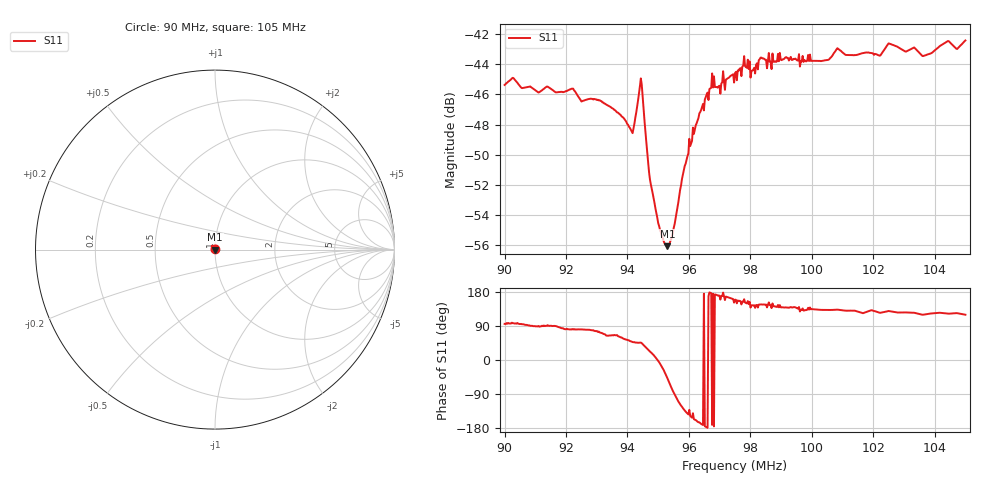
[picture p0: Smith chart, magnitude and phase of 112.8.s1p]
# HZ S RI R 50
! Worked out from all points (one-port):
!   505 points, 90 MHz to 105 MHz, reference 50 ohm
!   lowest |S11| = -56.1 dB at 95.3 MHz (marker M1), VSWR 1.00, Z = 50.1 - j0.117 ohm
!   |S11| at or under -10 dB: start of sweep to end of sweep
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9e7  -0.000495 0.00536
9.026786e7  -0.000694 0.00564
9.187501e7  0.000566 0.00507
9.220239e7  0.000754 0.00517
9.375001e7  0.00208 0.00377
9.416668e7  0.00252 0.00274
9.443454e7  0.00394 0.00406
9.449406e7  0.00366 0.00327
9.467263e7  0.00265 0.00137
9.476192e7  0.00236 0.000866
9.505954e7  0.00176 -0.000311
9.529764e7  0.00106 -0.00117
9.544645e7  0.000403 -0.00165
9.562502e7  -0.000536 -0.00205
9.607145e7  -0.00299 -0.00173
9.675597e7  -0.00581 -0.00089
9.696431e7  -0.00525 0.000899
9.750002e7  -0.00551 0.00209
9.785717e7  -0.00536 0.00305
9.80655e7  -0.00488 0.00351
9.836312e7  -0.00554 0.00364
9.937503e7  -0.00488 0.00431
1.0125e8  -0.00436 0.00516
1.022024e8  -0.00385 0.00552
1.025298e8  -0.00463 0.00574
1.03125e8  -0.00404 0.0057
1.036608e8  -0.00336 0.00583
1.05e8  -0.00372 0.00658
